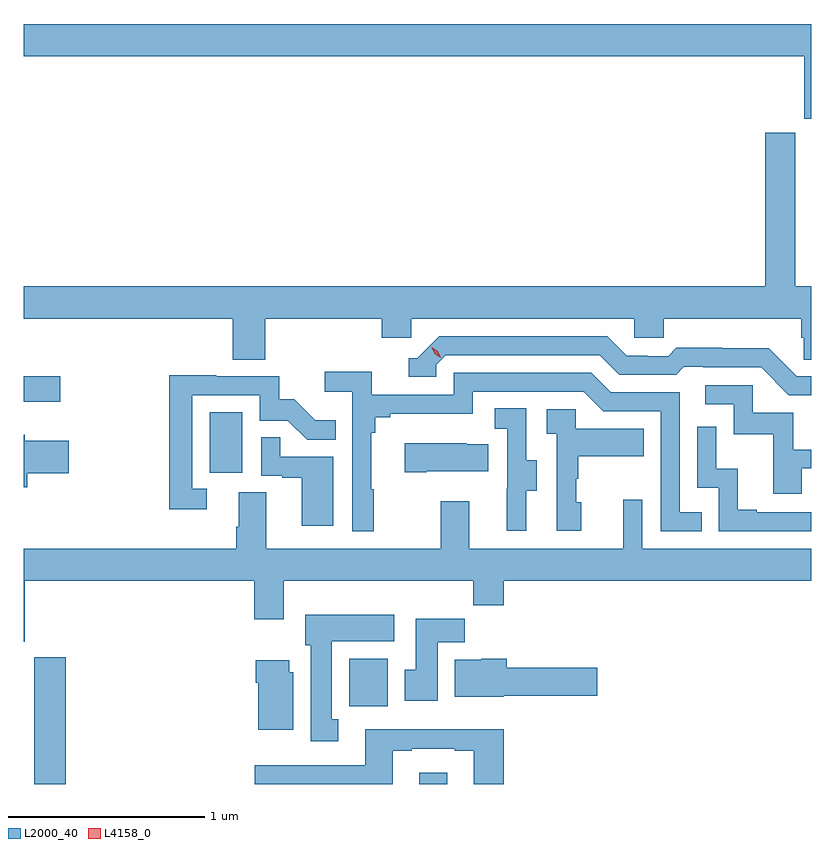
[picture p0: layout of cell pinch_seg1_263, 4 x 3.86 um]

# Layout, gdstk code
import gdstk
lib = gdstk.Library(unit=1e-6, precision=1e-09)
def R(c, l, rs):  # rectangles x0, y0, x1, y1
    for r in rs: c.add(gdstk.rectangle(r[:2], r[2:], *l))
def P(c, l, *ps):  # polygons
    for p in ps: c.add(gdstk.Polygon(p, *l))
L2000_40 = (2000, 40)
L4158_0 = (4158, 0)

pinch_seg1_263 = lib.new_cell('pinch_seg1_263')
R(pinch_seg1_263, L2000_40, [(927.442,568.017,927.602,568.66), (929.399,568.017,929.539,568.075), (929.042,568.412,929.239,568.654), (928.334,569.598,928.498,569.905), (927.389,569.957,927.574,570.087)])
P(pinch_seg1_263, L2000_40, [(931.389,571.876),(927.389,571.876),(927.389,571.712),(931.352,571.712),(931.352,571.395),(931.389,571.395)],
  [(928.616,570.38),(929.207,570.38),(929.207,570.282),(929.358,570.282),(929.358,570.38),(930.489,570.38),(930.489,570.282),(930.639,570.282),(930.639,570.38),(931.337,570.38),(931.337,570.282),(931.351,570.282),(931.351,570.172),(931.389,570.172),(931.389,570.544),(931.306,570.544),(931.306,571.323),(931.154,571.323),(931.154,570.544),(927.389,570.544),(927.389,570.38),(928.451,570.38),(928.451,570.172),(928.616,570.172)],
  [(931.389,570.087),(931.314,570.087),(931.172,570.229),(930.936,570.229),(930.936,570.232),(930.703,570.232),(930.661,570.189),(930.558,570.189),(930.558,570.192),(930.451,570.192),(930.352,570.291),(929.499,570.291),(929.388,570.18),(929.345,570.18),(929.345,570.084),(929.484,570.084),(929.484,570.147),(929.532,570.195),(930.315,570.195),(930.414,570.096),(930.703,570.096),(930.742,570.135),(930.841,570.135),(930.841,570.132),(931.134,570.132),(931.275,569.991),(931.389,569.991)],
  [(929.167,569.513),(929.155,569.513),(929.155,569.801),(929.174,569.801),(929.174,569.878),(929.251,569.878),(929.251,569.897),(929.67,569.897),(929.67,570.009),(930.234,570.009),(930.333,569.91),(930.624,569.91),(930.624,569.301),(930.833,569.301),(930.833,569.397),(930.72,569.397),(930.72,570.006),(930.37,570.006),(930.271,570.105),(929.574,570.105),(929.574,569.994),(929.156,569.994),(929.156,570.11),(928.917,570.11),(928.917,570.008),(929.058,570.008),(929.058,569.301),(929.167,569.301)],
  [(928.318,569.517),(928.245,569.517),(928.245,569.991),(928.587,569.991),(928.587,569.862),(928.731,569.862),(928.829,569.764),(928.973,569.764),(928.973,569.863),(928.869,569.863),(928.762,569.97),(928.686,569.97),(928.686,570.087),(928.367,570.087),(928.367,570.092),(928.129,570.092),(928.129,569.412),(928.318,569.412)],
  [(931.339,569.619),(931.389,569.619),(931.389,569.715),(931.297,569.715),(931.297,569.901),(931.092,569.901),(931.092,570.042),(930.849,570.042),(930.849,569.946),(930.996,569.946),(930.996,569.793),(931.195,569.793),(931.195,569.49),(931.339,569.49)],
  [(929.941,569.506),(929.995,569.506),(929.995,569.661),(929.94,569.661),(929.94,569.924),(929.781,569.924),(929.781,569.821),(929.844,569.821),(929.844,569.517),(929.843,569.517),(929.843,569.304),(929.941,569.304)],
  [(930.22,569.448),(930.195,569.448),(930.195,569.567),(930.205,569.567),(930.205,569.681),(930.539,569.681),(930.539,569.821),(930.192,569.821),(930.192,569.919),(930.045,569.919),(930.045,569.795),(930.096,569.795),(930.096,569.304),(930.22,569.304)],
  [(931.389,569.397),(931.111,569.397),(931.111,569.41),(931.016,569.41),(931.016,569.618),(930.906,569.618),(930.906,569.83),(930.81,569.83),(930.81,569.52),(930.918,569.52),(930.918,569.301),(931.389,569.301)],
  [(927.407,569.596),(927.619,569.596),(927.619,569.761),(927.394,569.761),(927.394,569.791),(927.389,569.791),(927.389,569.525),(927.407,569.525)],
  [(928.96,569.679),(928.691,569.679),(928.691,569.777),(928.596,569.777),(928.596,569.583),(928.703,569.583),(928.703,569.571),(928.802,569.571),(928.802,569.328),(928.96,569.328)],
  [(929.437,569.606),(929.747,569.606),(929.747,569.743),(929.639,569.743),(929.639,569.746),(929.325,569.746),(929.325,569.599),(929.437,569.599)],
  [(927.394,569.048),(928.559,569.048),(928.559,568.854),(928.711,568.854),(928.711,569.048),(929.671,569.048),(929.671,568.924),(929.828,568.924),(929.828,569.048),(931.389,569.048),(931.389,569.212),(930.531,569.212),(930.531,569.461),(930.434,569.461),(930.434,569.212),(929.653,569.212),(929.653,569.452),(929.506,569.452),(929.506,569.212),(928.621,569.212),(928.621,569.498),(928.481,569.498),(928.481,569.324),(928.469,569.324),(928.469,569.212),(927.389,569.212),(927.389,568.739),(927.394,568.739)],
  [(928.987,568.346),(928.954,568.346),(928.954,568.742),(929.272,568.742),(929.272,568.876),(928.82,568.876),(928.82,568.722),(928.847,568.722),(928.847,568.233),(928.987,568.233)],
  [(929.491,568.736),(929.63,568.736),(929.63,568.855),(929.381,568.855),(929.381,568.596),(929.324,568.596),(929.324,568.44),(929.491,568.44)],
  [(929.826,568.466),(930.301,568.466),(930.301,568.608),(929.843,568.608),(929.843,568.654),(929.712,568.654),(929.712,568.648),(929.579,568.648),(929.579,568.46),(929.826,568.46)],
  [(928.759,568.584),(928.738,568.584),(928.738,568.645),(928.568,568.645),(928.568,568.532),(928.58,568.532),(928.58,568.292),(928.759,568.292)],
  [(929.263,568.185),(929.359,568.185),(929.359,568.197),(929.579,568.197),(929.579,568.185),(929.675,568.185),(929.675,568.017),(929.828,568.017),(929.828,568.294),(929.123,568.294),(929.123,568.113),(928.563,568.113),(928.563,568.017),(929.263,568.017)])
P(pinch_seg1_263, L4158_0, [(929.507,570.181),(929.477,570.201),(929.462,570.234),(929.462,570.234),(929.462,570.234),(929.492,570.214),(929.508,570.181),(929.508,570.181)])

lib.write_gds('pinch_seg1_263.gds')
